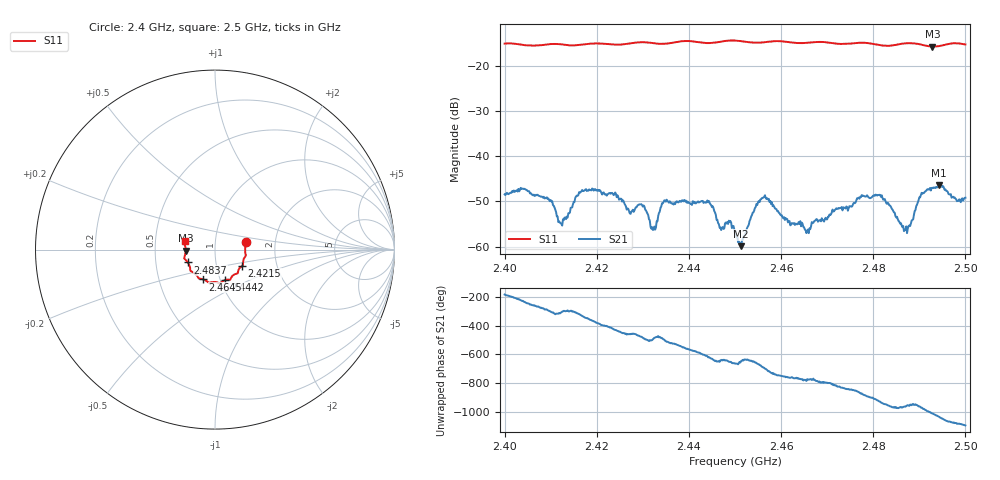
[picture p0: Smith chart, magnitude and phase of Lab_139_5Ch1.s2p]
# Hz S RI R 50
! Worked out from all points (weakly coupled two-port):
!   601 points, 2.4 GHz to 2.5 GHz, reference 50 ohm
!   highest |S21| = -46.46 dB at 2.4943 GHz (marker M1); lowest = -59.9 dB at 2.4513 GHz (marker M2)
!   lowest |S11| = -15.7 dB at 2.4928 GHz (marker M3), VSWR 1.39, Z = 36 - j0.378 ohm
!   |S11| at or under -10 dB: start of sweep to end of sweep
!   S12 and S22 are empty: the file has one direction only
!   S11 on the Smith chart (normalised r, x): 2.4 GHz: 1.41, +0.12; 2.4215 GHz: 1.33, -0.25; 2.4442 GHz: 1.05, -0.37; 2.4645 GHz: 0.83, -0.29; 2.4837 GHz: 0.73, -0.11; 2.5 GHz: 0.71, +0.07
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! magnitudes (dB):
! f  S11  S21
! 2.4 GHz  -15.1  -48.4
! 2.409 GHz  -15.3  -49.3
! 2.4122 GHz  -15.2  -54.8
! 2.4167 GHz  -15.3  -47.8
! 2.4215 GHz  -15.1  -48.0
! 2.4298 GHz  -14.8  -50.8
! 2.4322 GHz  -15.0  -56.3
! 2.4333 GHz  -15.1  -53.2
! 2.435 GHz  -15.1  -50.1
! 2.4442 GHz  -15.0  -50.2
! 2.45 GHz  -14.4  -57.2
! 2.4513 GHz  -14.5  -59.9
! 2.456 GHz  -14.8  -49.3
! 2.4645 GHz  -15.0  -54.7
! 2.4667 GHz  -14.8  -54.6
! 2.4777 GHz  -14.9  -48.8
! 2.4833 GHz  -15.6  -50.5
! 2.4837 GHz  -15.5  -50.9
! 2.4872 GHz  -15.0  -55.5
! 2.4928 GHz  -15.7  -47.0
! 2.4943 GHz  -15.6  -46.5
! 2.5 GHz  -15.3  -49.2
